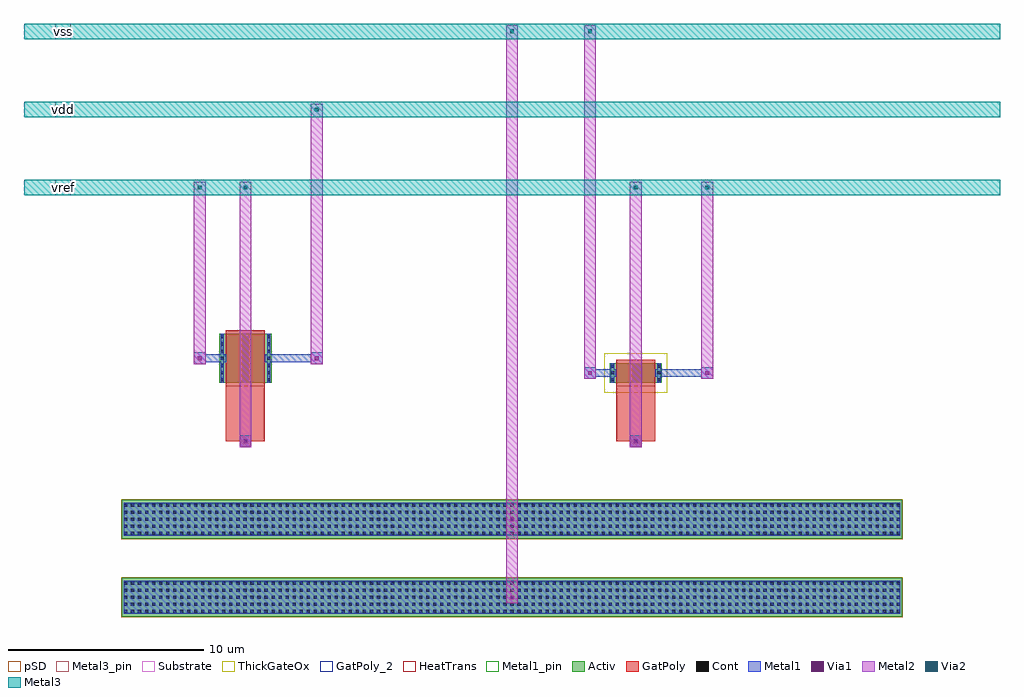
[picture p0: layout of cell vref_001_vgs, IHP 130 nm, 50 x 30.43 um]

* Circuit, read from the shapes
.subckt vref_001_vgs vdd vref vss
XM1 vdd vref vref vss sg13_lv_nmos w=2.5u l=2u
XM2 vref vref vss vss sg13_hv_nmos w=1u l=2u
.ends

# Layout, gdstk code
import gdstk
lib = gdstk.Library(unit=1e-6, precision=1e-09)
def R(c, l, rs):  # rectangles x0, y0, x1, y1
    for r in rs: c.add(gdstk.rectangle(r[:2], r[2:], *l))
def A(c, l, x, y, w, h, nx, ny, dx, dy):  # array of equal rectangles
    R(c, l, [(x+i*dx, y+j*dy, x+i*dx+w, y+j*dy+h) for i in range(nx) for j in range(ny)])
Activ = (1, 0)
GatPoly = (5, 0)
GatPoly_2 = (5, 2)
Cont = (6, 0)
Metal1 = (8, 0)
Metal1_pin = (8, 2)
Metal2 = (10, 0)
pSD = (14, 0)
Via1 = (19, 0)
Via2 = (29, 0)
Metal3 = (30, 0)
Metal3_pin = (30, 2)
Substrate = (40, 0)
ThickGateOx = (44, 0)
HeatTrans = (51, 0)

nmos = lib.new_cell('nmos')
R(nmos, Activ, [(0,0,0.3,0.3), (0,0,2.68,2.5), (2.38,0,2.68,0.3)])
R(nmos, GatPoly, [(0.34,-0.18,2.34,2.68)])
R(nmos, GatPoly_2, [(0.34,-0.18,2.34,2.68)])
A(nmos, Cont, 0.07, 0.07, 0.16, 0.16, 1, 3, 0, 0.365)
A(nmos, Cont, 2.45, 0.07, 0.16, 0.16, 1, 3, 0, 0.365)
A(nmos, Cont, 0.07, 1.17, 0.16, 0.16, 1, 3, 0, 0.365)
A(nmos, Cont, 2.45, 1.17, 0.16, 0.16, 1, 3, 0, 0.365)
R(nmos, Cont, [(0.07,2.27,0.23,2.43), (2.45,2.27,2.61,2.43)])
R(nmos, Metal1, [(0.07,0,0.23,2.5), (2.45,0,2.61,2.5)])
R(nmos, Metal1_pin, [(0.07,0,0.23,2.5), (2.45,0,2.61,2.5)])
R(nmos, HeatTrans, [(0.34,-0.18,2.34,2.68)])
nmos.add(gdstk.Label('nmos', (1.34,1.25), layer=63, texttype=0))
nmos.add(gdstk.Label('nmos', (1.34,1.25), layer=51, texttype=0))

nmoshv = lib.new_cell('nmosHV')
R(nmoshv, Activ, [(0,0,0.3,0.3), (0,0,2.68,1), (2.38,0,2.68,0.3)])
R(nmoshv, GatPoly, [(0.34,-0.18,2.34,1.18)])
R(nmoshv, GatPoly_2, [(0.34,-0.18,2.34,1.18)])
A(nmoshv, Cont, 0.07, 0.07, 0.16, 0.16, 1, 3, 0, 0.35)
A(nmoshv, Cont, 2.45, 0.07, 0.16, 0.16, 1, 3, 0, 0.35)
R(nmoshv, Metal1, [(0.07,0,0.23,1), (2.45,0,2.61,1)])
R(nmoshv, Metal1_pin, [(0.07,0,0.23,1), (2.45,0,2.61,1)])
R(nmoshv, ThickGateOx, [(-0.27,-0.52,2.95,1.52)])
R(nmoshv, HeatTrans, [(0.34,-0.18,2.34,1.18)])
nmoshv.add(gdstk.Label('nmosHV', (1.34,0.5), layer=63, texttype=0))
nmoshv.add(gdstk.Label('nmosHV', (1.34,0.5), layer=51, texttype=0))

ptap1 = lib.new_cell('ptap1')
R(ptap1, Activ, [(0,0,40,2)])
A(ptap1, Cont, 0.12, 0.2, 0.16, 0.16, 111, 5, 0.36, 0.36)
R(ptap1, Metal1, [(0.12,0.15,39.88,1.85), (0.12,0.2,39.88,1.8)])
R(ptap1, Metal1_pin, [(0.12,0.2,39.88,1.8)])
R(ptap1, pSD, [(-0.03,-0.03,40.03,2.03)])
R(ptap1, Substrate, [(0,0,40,2)])
ptap1.add(gdstk.Label('sub!', (20,0.01), layer=63, texttype=0))
ptap1.add(gdstk.Label('sub!', (20,0.01), layer=40, texttype=0))

body_contact = lib.new_cell('body_contact')
R(body_contact, Activ, [(0,0,40,2)])
A(body_contact, Cont, 0.12, 0.2, 0.16, 0.16, 111, 5, 0.36, 0.36)
R(body_contact, Metal1, [(0.12,0.15,39.88,1.85), (0.12,0.2,39.88,1.8)])
R(body_contact, Metal1_pin, [(0.12,0.2,39.88,1.8)])
R(body_contact, pSD, [(-0.03,-0.03,40.03,2.03)])

vref_001_vgs = lib.new_cell('vref_001_vgs')
R(vref_001_vgs, GatPoly, [(11.04,6.7,11.64,7.3), (31.04,6.7,31.64,7.3), (10.34,7,12.34,12.68), (30.34,7,32.34,11.18)])
R(vref_001_vgs, Cont, [(11.26,6.92,11.42,7.08), (31.26,6.92,31.42,7.08)])
R(vref_001_vgs, Metal1, [(24.7,-1.3,25.3,-0.7), (24.7,2.7,25.3,3.3), (11.04,6.7,11.64,7.3), (31.04,6.7,31.64,7.3), (11.14,6.8,11.54,7.2), (31.14,6.8,31.54,7.2), (28.7,10.2,29.3,10.8), (34.7,10.2,35.3,10.8), (28.8,10.3,30.35,10.7), (32.33,10.3,35.2,10.7), (8.7,10.95,9.3,11.55), (14.7,10.95,15.3,11.55), (8.8,11.05,10.35,11.45), (12.33,11.05,15.2,11.45)])
R(vref_001_vgs, Metal2, [(24.7,-1.3,25.3,-0.7), (24.7,-1,25.3,28.3), (24.7,2.7,25.3,3.3), (24.7,3,25.3,28.3), (11.04,6.7,11.64,7.3), (31.04,6.7,31.64,7.3), (11.04,7,11.64,20.3), (31.04,7,31.64,20.3), (28.7,10.2,29.3,10.8), (34.7,10.2,35.3,10.8), (28.7,10.5,29.3,28.3), (34.7,10.5,35.3,20.3), (8.7,10.95,9.3,11.55), (14.7,10.95,15.3,11.55), (8.7,11.25,9.3,20.3), (14.7,11.25,15.3,24.3)])
R(vref_001_vgs, Via1, [(24.905,-1.095,25.095,-0.905), (24.905,2.905,25.095,3.095), (11.245,6.905,11.435,7.095), (31.245,6.905,31.435,7.095), (28.905,10.405,29.095,10.595), (34.905,10.405,35.095,10.595), (8.905,11.155,9.095,11.345), (14.905,11.155,15.095,11.345)])
R(vref_001_vgs, Via2, [(8.905,19.905,9.095,20.095), (11.245,19.905,11.435,20.095), (31.245,19.905,31.435,20.095), (34.905,19.905,35.095,20.095), (14.905,23.905,15.095,24.095), (24.905,27.905,25.095,28.095), (24.905,27.905,25.095,28.095), (28.905,27.905,29.095,28.095)])
A(vref_001_vgs, Metal3, 0, 19.6, 50, 0.8, 1, 3, 0, 4)
R(vref_001_vgs, Metal3, [(8.7,19.7,9.3,20.3), (11.04,19.7,11.64,20.3), (31.04,19.7,31.64,20.3), (34.7,19.7,35.3,20.3), (14.7,23.7,15.3,24.3), (24.7,27.7,25.3,28.3), (24.7,27.7,25.3,28.3), (28.7,27.7,29.3,28.3)])
A(vref_001_vgs, Metal3_pin, 1.6, 19.6, 0.8, 0.8, 1, 3, 0, 4)
vref_001_vgs.add(gdstk.Reference(nmos, (10,10)))
vref_001_vgs.add(gdstk.Reference(nmoshv, (30,10)))
vref_001_vgs.add(gdstk.Reference(ptap1, (5,2)))
vref_001_vgs.add(gdstk.Reference(body_contact, (5,-2)))
vref_001_vgs.add(gdstk.Label('vref', (2,20), layer=30, texttype=25))
vref_001_vgs.add(gdstk.Label('vdd', (2,24), layer=30, texttype=25))
vref_001_vgs.add(gdstk.Label('vss', (2,28), layer=30, texttype=25))

lib.write_gds('vref_001_vgs.gds')
